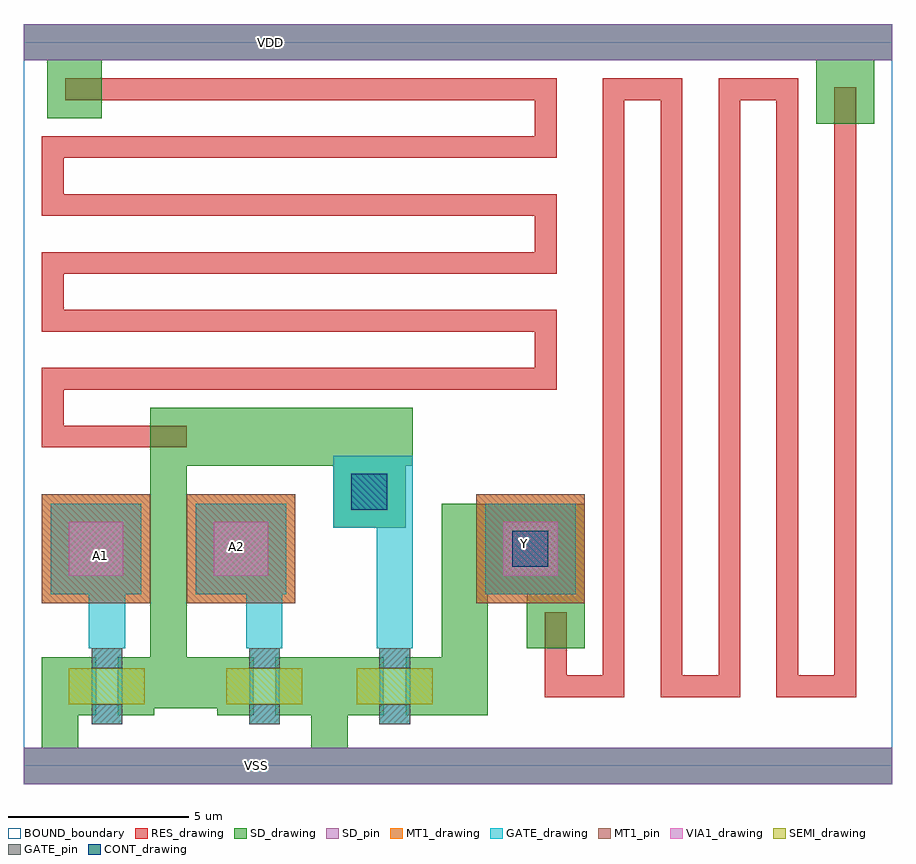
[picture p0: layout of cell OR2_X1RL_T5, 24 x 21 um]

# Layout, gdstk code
from math import pi, radians
import gdstk
lib = gdstk.Library(unit=1e-6, precision=1e-09)
def R(c, l, rs):  # rectangles x0, y0, x1, y1
    for r in rs: c.add(gdstk.rectangle(r[:2], r[2:], *l))
def P(c, l, *ps):  # polygons
    for p in ps: c.add(gdstk.Polygon(p, *l))
RES_drawing = (1, 0)
SEMI_drawing = (3, 0)
SD_drawing = (10, 0)
SD_pin = (10, 3)
GATE_drawing = (11, 0)
GATE_pin = (11, 3)
MT1_drawing = (20, 0)
MT1_pin = (20, 3)
CONT_drawing = (30, 0)
VIA1_drawing = (41, 0)
BOUND_boundary = (150, 5)

nch_cdns_772545115460 = lib.new_cell('nch_CDNS_772545115460')
R(nch_cdns_772545115460, SEMI_drawing, [(-1.05,-0.5,1.05,0.5)])
R(nch_cdns_772545115460, SD_drawing, [(-1.3,-0.8,-0.3,0.8), (0.3,-0.8,1.3,0.8)])
R(nch_cdns_772545115460, GATE_drawing, [(-0.425,-1.05,0.425,1.05)])
R(nch_cdns_772545115460, GATE_pin, [(-0.425,-1.05,0.425,-0.5), (-0.425,0.5,0.425,1.05)])

sd_gate_cdns_77254511546 = lib.new_cell('SD_GATE_CDNS_772545115460')
R(sd_gate_cdns_77254511546, SD_drawing, [(-1,-1,1,1)])
R(sd_gate_cdns_77254511546, GATE_drawing, [(-1,-1,1,1)])
R(sd_gate_cdns_77254511546, CONT_drawing, [(-0.5,-0.5,0.5,0.5)])

c_sd_gate_cdns_77254511546 = lib.new_cell('SD_GATE_CDNS_772545115461')
R(c_sd_gate_cdns_77254511546, SD_drawing, [(-1.25,-1.25,1.25,1.25)])
R(c_sd_gate_cdns_77254511546, GATE_drawing, [(-1.25,-1.25,1.25,1.25)])
R(c_sd_gate_cdns_77254511546, CONT_drawing, [(-0.5,-0.5,0.5,0.5)])

gate_mt1_cdns_7725451154 = lib.new_cell('GATE_MT1_CDNS_772545115462')
R(gate_mt1_cdns_7725451154, GATE_drawing, [(-1.25,-1.25,1.25,1.25)])
R(gate_mt1_cdns_7725451154, MT1_drawing, [(-1.25,-1.25,1.25,1.25)])
R(gate_mt1_cdns_7725451154, VIA1_drawing, [(-0.75,-0.75,0.75,0.75)])

or2_x1rl_t5 = lib.new_cell('OR2_X1RL_T5')
R(or2_x1rl_t5, SD_drawing, [(0,-0.5,24,0.5), (0.5,0.5,1.5,3), (7.95,0.5,8.95,3), (11.55,1.4,12.825,7.25), (3.5,2.9,4.5,8.3), (13.9,3.25,15.5,4.75), (3.5,8.3,5,9.9), (21.9,17.75,23.5,19.5), (0.65,17.9,2.15,19.5), (0,19.5,24,20.5)])
R(or2_x1rl_t5, SD_pin, [(0,-0.5,24,0.5), (0,19.5,24,20.5)])
P(or2_x1rl_t5, GATE_drawing, [(10.75,3.35),(9.75,3.35),(9.75,3.25),(9.875,3.25),(9.875,3.2),(10.625,3.2),(10.625,3.25),(10.75,3.25)],
  [(7.15,3.35),(6.15,3.35),(6.15,3.25),(6.275,3.25),(6.275,3.2),(7.025,3.2),(7.025,3.25),(7.15,3.25)],
  [(2.8,3.35),(1.8,3.35),(1.8,3.25),(1.925,3.25),(1.925,3.2),(2.675,3.2),(2.675,3.25),(2.8,3.25)])
R(or2_x1rl_t5, MT1_drawing, [(0.5,4.5,3.5,7.5), (4.5,4.5,7.5,7.5), (12.5,4.5,15.5,7.5)])
R(or2_x1rl_t5, MT1_pin, [(0.5,4.5,3.5,7.5), (4.5,4.5,7.5,7.5), (12.5,4.5,15.5,7.5)])
R(or2_x1rl_t5, BOUND_boundary, [(0,0,24,20)])
or2_x1rl_t5.add(gdstk.FlexPath([(14.7,4.75),(14.7,7.25)], 1.6, ends="flush", simple_path=True, layer=10, datatype=0))  # SD_drawing
or2_x1rl_t5.add(gdstk.FlexPath([(5,9.1),(10.75,9.1)], 1.6, ends="flush", simple_path=True, layer=10, datatype=0))  # SD_drawing
or2_x1rl_t5.add(gdstk.FlexPath([(3.6,2.3),(5.35,2.3)], 1.4, ends="flush", simple_path=True, layer=10, datatype=0))  # SD_drawing
or2_x1rl_t5.add(gdstk.FlexPath([(6.65,3.35),(6.65,4.8)], 1, ends="flush", simple_path=True, layer=11, datatype=0))  # GATE_drawing
or2_x1rl_t5.add(gdstk.FlexPath([(2.3,3.35),(2.3,4.8)], 1, ends="flush", simple_path=True, layer=11, datatype=0))  # GATE_drawing
or2_x1rl_t5.add(gdstk.FlexPath([(10.25,3.35),(10.25,8.575)], 1, ends="flush", simple_path=True, layer=11, datatype=0))  # GATE_drawing
or2_x1rl_t5.add(gdstk.FlexPath([(14.7,3.25),(14.7,2.2),(16.3,2.2),(16.3,18.7),(17.9,18.7),(17.9,2.2),(19.5,2.2),(19.5,18.7),(21.1,18.7),(21.1,2.2),(22.7,2.2),(22.7,17.75)], 0.6, ends=(1, 1), simple_path=True, layer=1, datatype=0))  # RES_drawing
or2_x1rl_t5.add(gdstk.FlexPath([(2.15,18.7),(14.425,18.7),(14.425,17.1),(0.8,17.1),(0.8,15.5),(14.425,15.5),(14.425,13.9),(0.8,13.9),(0.8,12.3),(14.425,12.3),(14.425,10.7),(0.8,10.7),(0.8,9.1),(3.5,9.1)], 0.6, ends=(1, 1), simple_path=True, layer=1, datatype=0))  # RES_drawing
or2_x1rl_t5.add(gdstk.Reference(nch_cdns_772545115460, (10.25,2.2)))
or2_x1rl_t5.add(gdstk.Reference(nch_cdns_772545115460, (6.65,2.2), rotation=pi))
or2_x1rl_t5.add(gdstk.Reference(nch_cdns_772545115460, (2.3,2.2)))
or2_x1rl_t5.add(gdstk.Reference(sd_gate_cdns_77254511546, (9.55,7.575)))
or2_x1rl_t5.add(gdstk.Reference(c_sd_gate_cdns_77254511546, (14,6)))
or2_x1rl_t5.add(gdstk.Reference(gate_mt1_cdns_7725451154, (2,6)))
or2_x1rl_t5.add(gdstk.Reference(gate_mt1_cdns_7725451154, (6,6)))
or2_x1rl_t5.add(gdstk.Reference(gate_mt1_cdns_7725451154, (14,6)))
or2_x1rl_t5.add(gdstk.Label('Y', (13.825,6.15), layer=20, texttype=3))
or2_x1rl_t5.add(gdstk.Label('A2', (5.875,6.05), layer=20, texttype=3))
or2_x1rl_t5.add(gdstk.Label('A1', (2.125,5.825), layer=20, texttype=3))
or2_x1rl_t5.add(gdstk.Label('VDD', (6.825,20), layer=10, texttype=3))
or2_x1rl_t5.add(gdstk.Label('VSS', (6.425,0), layer=10, texttype=3))

lib.write_gds('OR2_X1RL_T5.gds')
